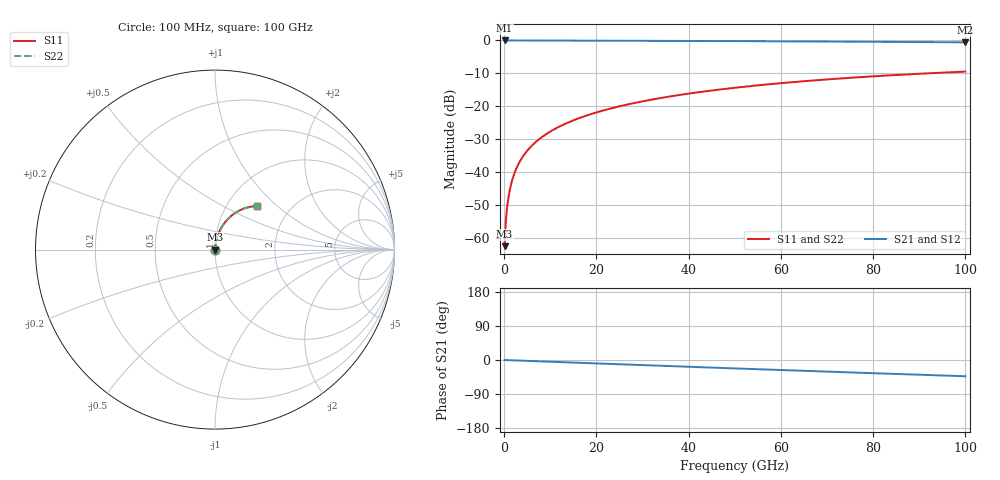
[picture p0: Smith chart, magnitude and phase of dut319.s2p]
! Touchstone file exported from HFSS 2026.1.0
!  File:  C:/ffzhzh/LocalFiles/Ansys_Project_Files/temp_train_RDL_319_1783502673_41296.aedt
!  Generated:  05:25:40 PM Jul  8, 2026
!  Design:  RDL
!  Project:  temp_train_RDL_319_1783502673_41296
! Variables:
!  h_bsmrdl = 2um
!  h_ox = 20um
!  h_rdl = 5um
!  h_sub = 80um
!  h_tmrdl = 4.18um
!  h_tsv = 80um
!  h_via = 3um
!  l_bsmrdl = 300um
!  l_sub = 507.4um
!  l_tmrdl = 107.4um
!  m_sub = 200um
!  pitch = 44.83um
!  r_tsv = 6um
!  s_tmrdl = 10um
!  w_bsmrdl = 18um
!  w_sub = 500um
!  w_tmrdl = 24.66um
!  x_tsv_center1 = 119.73um
!  x_tsv_center2 = 437.73um
!  x_tsv_center3 = 569.79um
!  x_tsv_center4 = 887.79um
!  x_tsv_center5 = 1019.85um
!  x_tsv_center6 = 1337.85um
# GHz S MA R 50.000000
! Terminal data exported
! Port[1] = TM_RDL1_1_T1
! Port[2] = TM_RDL1_1_T2
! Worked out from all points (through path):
!   1000 points, 100 MHz to 100 GHz, reference 50 ohm
!   highest |S21| = 0.00 dB at 100 MHz (marker M1); lowest = -0.6 dB at 100 GHz (marker M2)
!   group delay of S21, straight-line fit = 1.19 ps
!   lowest |S11| = -62.6 dB at 100 MHz (marker M3), VSWR 1.00, Z = 50.1 + j0.0478 ohm
!   |S11| at or under -10 dB: start of sweep to 91.99 GHz
!   |S22| runs from -62.6 to -9.5 dB; largest |S21 - S12| = 3.3e-15
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0.1  0.0007406 40.1  0.9994 -0.0  0.9994 -0.0  0.0007406 40.1
! Gamma 0 0 0 0
! Port Impedance 50 0 50 0
0.3  0.001502 64.8  0.9994 -0.1  0.9994 -0.1  0.001502 64.8
0.7  0.003119 76.6  0.9993 -0.3  0.9993 -0.3  0.003119 76.6
0.9  0.003945 79.0  0.9993 -0.4  0.9993 -0.4  0.003945 79.0
1.2  0.005195 81.1  0.9992 -0.6  0.9992 -0.6  0.005195 81.1
1.5  0.006452 82.4  0.9992 -0.7  0.9992 -0.7  0.006452 82.4
2  0.008549 83.5  0.9991 -0.9  0.9991 -0.9  0.008549 83.5
2.5  0.01064 84.0  0.9991 -1.2  0.9991 -1.2  0.01064 84.0
3.2  0.01356 84.3  0.9989 -1.5  0.9989 -1.5  0.01356 84.3
4  0.01687 84.4  0.9987 -1.9  0.9987 -1.9  0.01687 84.4
5  0.02097 84.2  0.9985 -2.3  0.9985 -2.3  0.02097 84.2
6.1  0.02544 83.9  0.9982 -2.8  0.9982 -2.8  0.02544 83.9
8.9  0.03668 83.1  0.9975 -4.1  0.9975 -4.1  0.03668 83.1
12.4  0.05056 81.8  0.9965 -5.7  0.9965 -5.7  0.05056 81.8
16.8  0.06782 80.2  0.9951 -7.6  0.9951 -7.6  0.06782 80.2
24.2  0.09643 77.2  0.9922 -10.9  0.9922 -10.9  0.09643 77.2
33.4  0.1311 73.4  0.9877 -15.0  0.9877 -15.0  0.1311 73.4
41.2  0.1596 70.1  0.9831 -18.4  0.9831 -18.4  0.1596 70.1
50.1  0.1908 66.4  0.9771 -22.3  0.9771 -22.3  0.1908 66.4
66.7  0.2451 59.6  0.9645 -29.3  0.9645 -29.3  0.2451 59.5
83.4  0.2937 52.8  0.9504 -36.2  0.9504 -36.2  0.2938 52.7
100  0.3356 46.2  0.9362 -42.9  0.9362 -42.9  0.3356 46.2
